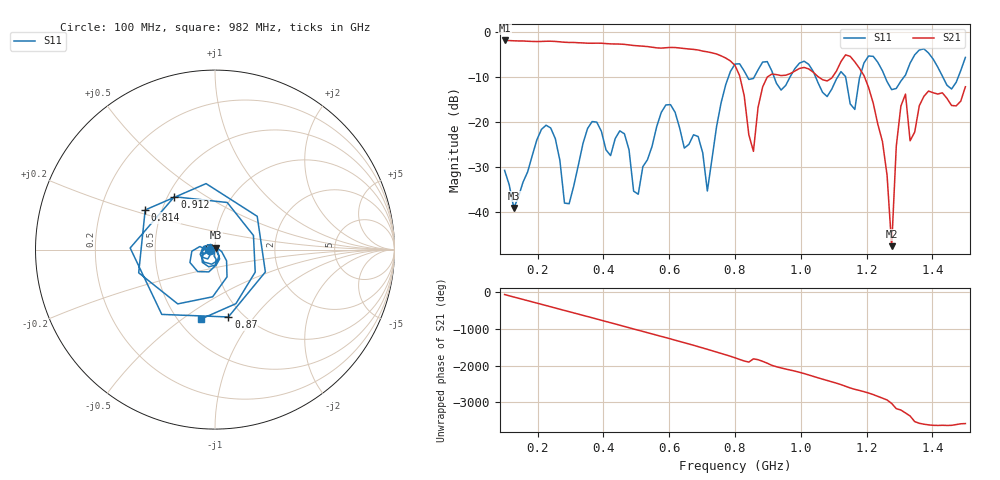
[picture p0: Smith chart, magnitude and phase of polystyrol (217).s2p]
! NanoVNA-App
! Date: 2025-09-25 15:31:35
! Start: 100MHz Stop: 1,5GHz Points: 101
! S-Parameter data: F S11 S21 S12 S22
# Hz S RI R 50
!  Frequency  S11_Real  S11_Imag  S21_Real  S21_Imag  S12_Real  S12_Imag  S22_Real  S22_Imag
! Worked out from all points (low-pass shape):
!   101 points, 100 MHz to 1.5 GHz, reference 50 ohm
!   highest |S21| = -1.80 dB at 100 MHz (marker M1); lowest = -47.6 dB at 1.276 GHz (marker M2)
!   |S21| within 3 dB of the highest: start of sweep to 743.3 MHz
!   lowest |S11| = -39.1 dB at 128 MHz (marker M3), VSWR 1.02, Z = 50.3 + j1.06 ohm
!   |S11| at or under -10 dB: start of sweep to 779.7 MHz; 1.045 GHz to 1.111 GHz (66.06 MHz wide, 6.13 % of centre); 1.256 GHz to 1.313 GHz (56.29 MHz wide, 4.38 % of centre) (the widest 3 of 7)
!   S12 and S22 are empty: the file has one direction only
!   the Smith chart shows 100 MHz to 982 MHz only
!   S11 on the Smith chart (normalised r, x): 100 MHz: 0.94, -0.01; 814 MHz: 0.40, +0.22; 870 MHz: 0.86, -0.75; 912 MHz: 0.54, +0.37; 982 MHz: 0.64, -0.59
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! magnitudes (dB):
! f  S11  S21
! 100 MHz  -30.7  -1.8
! 128 MHz  -39.1  -1.9
! 212 MHz  -21.6  -2.0
! 282 MHz  -38.0  -2.2
! 338 MHz  -24.8  -2.3
! 464 MHz  -22.6  -2.7
! 506 MHz  -36.0  -3.0
! 576 MHz  -17.8  -3.5
! 716 MHz  -35.3  -4.3
! 800 MHz  -7.0  -7.4
! 814 MHz  -7.0  -9.6
! 856 MHz  -10.3  -26.5
! 870 MHz  -8.3  -16.7
! 912 MHz  -8.6  -9.3
! 982 MHz  -8.1  -8.6
! 1.038 GHz  -8.7  -8.9
! 1.192 GHz  -6.8  -9.6
! 1.248 GHz  -8.5  -24.3
! 1.276 GHz  -12.7  -47.6
! 1.29 GHz  -12.5  -25.4
! 1.318 GHz  -9.5  -13.7
! 1.5 GHz  -5.6  -12.1
